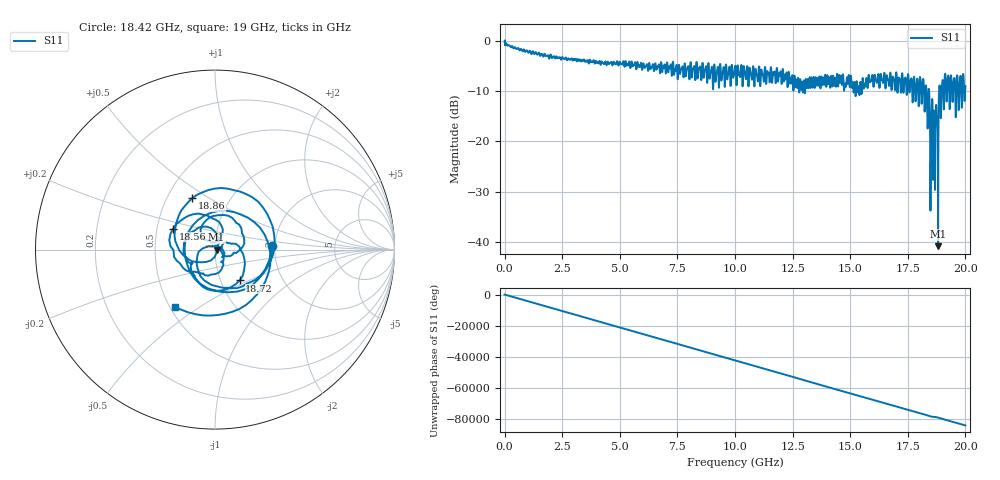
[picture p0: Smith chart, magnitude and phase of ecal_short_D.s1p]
! MS46122B
! 2250307/22442219
! 6/16/2025 7:46:01 AM
! C:\USERS\SPARKY\DOCUMENTS\VNA_DATA\JUNE16_2025\3.1K\ECAL_SHORT_D.S1P
! CHANNEL.1
! TR.MEASUREMENT
! RAW.DATA
# GHZ S RI R 50.0
! FREQ.GHZ  S11RE  S11IM
!; PortSelection: Port_1
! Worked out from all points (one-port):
!   10001 points, 1 MHz to 20 GHz, reference 50 ohm
!   lowest |S11| = -40.8 dB at 18.82 GHz (marker M1), VSWR 1.02, Z = 50.9 - j0.0444 ohm
!   |S11| at or under -10 dB: 18.31031 GHz to 18.40218 GHz (91.87 MHz wide, 0.5 % of centre); 18.43 GHz to 18.86 GHz (433.1 MHz wide, 2.32 % of centre); 18.89757 GHz to 18.9669 GHz (69.32 MHz wide, 0.366 % of centre) (the widest 3 of 29)
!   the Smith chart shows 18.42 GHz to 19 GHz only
!   S11 on the Smith chart (normalised r, x): 18.42 GHz: 1.93, +0.09; 18.56 GHz: 0.61, +0.15; 18.72 GHz: 1.23, -0.44; 18.86 GHz: 0.67, +0.42; 19 GHz: 0.53, -0.40
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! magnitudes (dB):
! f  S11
! 1 MHz  -0.3
! 2.501 GHz  -3.3
! 5.001 GHz  -4.2
! 7.501 GHz  -7.0
! 10 GHz  -5.3
! 12.5 GHz  -7.1
! 12.95 GHz  -10.2
! 15 GHz  -8.2
! 15.32 GHz  -10.0
! 15.88 GHz  -8.0
! 17.5 GHz  -6.8
! 18.11 GHz  -12.3
! 18.36 GHz  -17.0
! 18.42 GHz  -9.9
! 18.49 GHz  -32.6
! 18.56 GHz  -11.7
! 18.72 GHz  -13.1
! 18.76 GHz  -16.7
! 18.82 GHz  -40.8
! 18.86 GHz  -10.1
! 18.94 GHz  -15.0
! 19 GHz  -8.2
! 19.19 GHz  -12.1
! 19.51 GHz  -7.5
! 19.58 GHz  -15.1
! 19.65 GHz  -6.9
! 19.84 GHz  -13.2
! 20 GHz  -9.0
